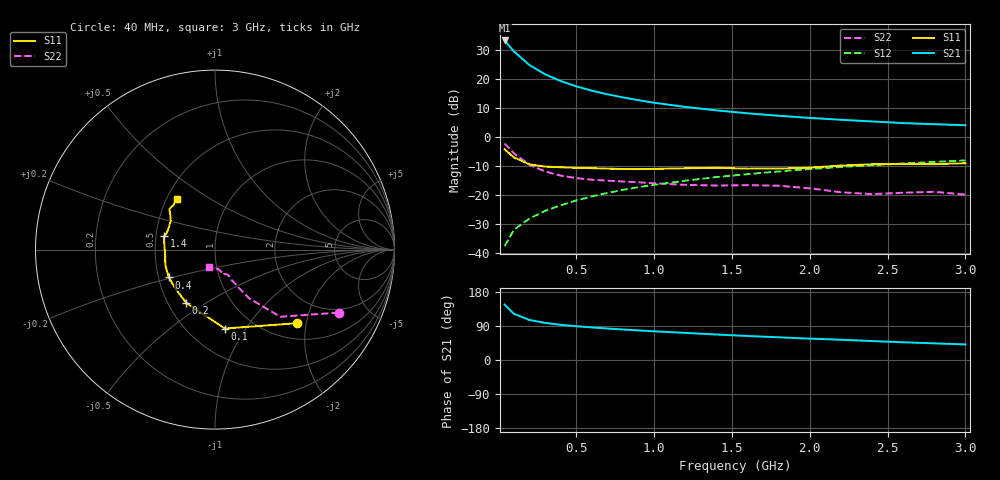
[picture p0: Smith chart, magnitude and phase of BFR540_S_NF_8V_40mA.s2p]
! Filename:  BFR540K.S2P  Version:  3.0
! Philips part #: BFR540  Date: Feb 1992
! Bias condition: Vce=8V, Ic=40mA
#  MHz  S  MA  R  50
! Freq  S11  S21  S12  S22  !GUM [dB]
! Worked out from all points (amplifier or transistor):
!   21 points, 40 MHz to 3 GHz, reference 50 ohm
!   highest |S21| = 33.4 dB at 40 MHz (marker M1)
!   |S21| within 3 dB of that: start of sweep to 87.32 MHz
!   unconditionally stable (mu >= 1): 662.9 MHz to 2.933 GHz
!   at 300 MHz: K = 0.90, MSG = 23.6 dB, |S12| = -25.5 dB
!   at 1 GHz: K = 1.02, MAG = 13.3 dB, |S12| = -16.5 dB
!   at 3 GHz: K = 1.00, MSG = 6.1 dB, |S12| = -8.1 dB
!   lowest NFmin = 1.90 dB at 900 MHz
!   S11 on the Smith chart (normalised r, x): 40 MHz: 1.34, -1.76; 100 MHz: 0.74, -0.81; 200 MHz: 0.62, -0.41; 400 MHz: 0.57, -0.19; 1.4 GHz: 0.55, +0.09; 3 GHz: 0.57, +0.37
40  0.612 -42.1  46.53 146.3  0.013 72.7  0.773 -27.0
100  0.443 -82.9  30.03 121.7  0.025 65.2  0.522 -45.8
200  0.337 -118.5  17.43 105.6  0.039 66.2  0.331 -55.0
300  0.308 -137.0  12.12 97.9  0.053 68.6  0.254 -58.0
400  0.3 -148.8  9.272 92.9  0.066 70.2  0.215 -59.9
500  0.293 -156.7  7.502 89.1  0.08 71.4  0.195 -61.1
600  0.29 -162.3  6.321 86.0  0.094 71.5  0.183 -61.9
700  0.284 -167.7  5.467 83.1  0.108 71.7  0.176 -62.2
800  0.28 -172.2  4.835 80.5  0.122 71.6  0.17 -62.2
900  0.279 -177.2  4.325 78.0  0.136 71.3  0.165 -62.3
1000  0.281 178.0  3.912 75.8  0.149 70.8  0.159 -62.9
1200  0.288 170.1  3.308 71.5  0.176 69.7  0.149 -66.1
1400  0.294 165.3  2.886 67.3  0.203 68.2  0.145 -70.3
1600  0.284 160.9  2.567 63.4  0.228 67.0  0.147 -70.7
1800  0.285 154.8  2.326 59.9  0.254 65.5  0.144 -72.5
2000  0.295 146.7  2.137 56.4  0.279 63.9  0.13 -73.8
2200  0.321 141.1  1.984 53.5  0.303 62.4  0.111 -79.8
2400  0.338 138.9  1.857 50.0  0.327 60.5  0.103 -92.7
2600  0.341 137.8  1.738 46.8  0.348 58.7  0.109 -102.9
2800  0.339 133.6  1.664 43.9  0.371 57.2  0.113 -105.9
3000  0.353 126.6  1.596 41.1  0.393 55.5  0.101 -108.8
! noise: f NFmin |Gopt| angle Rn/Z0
900  1.9  0.205  145  0.17
2000  2.6  0.43  -152  0.14
